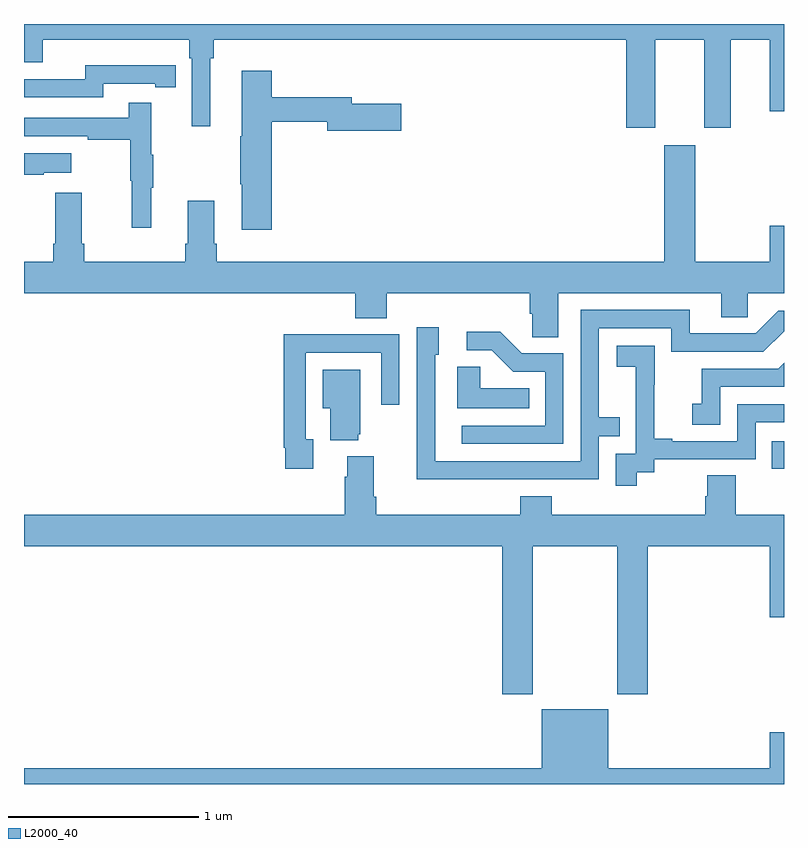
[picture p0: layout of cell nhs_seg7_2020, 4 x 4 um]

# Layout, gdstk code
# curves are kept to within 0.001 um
import gdstk
lib = gdstk.Library(unit=1e-6, precision=1e-09)
def R(c, l, rs):  # rectangles x0, y0, x1, y1
    for r in rs: c.add(gdstk.rectangle(r[:2], r[2:], *l))
def P(c, l, *ps):  # polygons
    for p in ps: c.add(gdstk.Polygon(p, *l))
L2000_40 = (2000, 40)

nhs_seg7_2020 = lib.new_cell('nhs_seg7_2020')
R(nhs_seg7_2020, L2000_40, [(248.935,1031.658,249,1031.805)])
P(nhs_seg7_2020, L2000_40, [(248.323,1033.916),(248.579,1033.916),(248.579,1033.455),(248.719,1033.455),(248.719,1033.916),(248.924,1033.916),(248.924,1033.542),(249,1033.542),(249,1034),(245,1034),(245,1033.799),(245.098,1033.799),(245.098,1033.916),(245.87,1033.916),(245.87,1033.82),(245.883,1033.82),(245.883,1033.461),(245.98,1033.461),(245.98,1033.82),(245.999,1033.82),(245.999,1033.916),(248.171,1033.916),(248.171,1033.455),(248.323,1033.455)],
  [(245.418,1033.686),(245.69,1033.686),(245.69,1033.666),(245.798,1033.666),(245.798,1033.782),(245.69,1033.782),(245.69,1033.783),(245.322,1033.783),(245.322,1033.71),(245,1033.71),(245,1033.614),(245.418,1033.614)],
  [(246.305,1033.486),(246.596,1033.486),(246.596,1033.439),(246.985,1033.439),(246.985,1033.581),(246.724,1033.581),(246.724,1033.615),(246.305,1033.615),(246.305,1033.753),(246.146,1033.753),(246.146,1033.409),(246.139,1033.409),(246.139,1033.156),(246.146,1033.156),(246.146,1032.918),(246.305,1032.918)],
  [(245.669,1033.139),(245.68,1033.139),(245.68,1033.313),(245.669,1033.313),(245.669,1033.585),(245.551,1033.585),(245.551,1033.506),(245,1033.506),(245,1033.41),(245.335,1033.41),(245.335,1033.39),(245.559,1033.39),(245.559,1033.176),(245.566,1033.176),(245.566,1032.927),(245.669,1032.927)],
  [(247.813,1032.584),(248.669,1032.584),(248.669,1032.457),(248.808,1032.457),(248.808,1032.584),(249,1032.584),(249,1032.937),(248.924,1032.937),(248.924,1032.748),(248.533,1032.748),(248.533,1033.363),(248.369,1033.363),(248.369,1032.748),(246.014,1032.748),(246.014,1032.844),(246.001,1032.844),(246.001,1033.069),(245.861,1033.069),(245.861,1032.844),(245.849,1032.844),(245.849,1032.748),(245.318,1032.748),(245.318,1032.844),(245.305,1032.844),(245.305,1033.111),(245.165,1033.111),(245.165,1032.844),(245.153,1032.844),(245.153,1032.748),(245,1032.748),(245,1032.584),(246.743,1032.584),(246.743,1032.451),(246.908,1032.451),(246.908,1032.584),(247.661,1032.584),(247.661,1032.475),(247.674,1032.475),(247.674,1032.352),(247.813,1032.352)],
  [(245.105,1033.217),(245.248,1033.217),(245.248,1033.321),(245,1033.321),(245,1033.207),(245.105,1033.207)],
  [(247.529,1031.604),(248.025,1031.604),(248.025,1031.829),(248.135,1031.829),(248.135,1031.93),(248.025,1031.93),(248.025,1032.399),(248.406,1032.399),(248.406,1032.276),(248.892,1032.276),(249,1032.384),(249,1032.492),(248.97,1032.492),(248.85,1032.372),(248.503,1032.372),(248.503,1032.495),(247.929,1032.495),(247.929,1031.7),(247.164,1031.7),(247.164,1032.258),(247.183,1032.258),(247.183,1032.403),(247.068,1032.403),(247.068,1031.909),(247.066,1031.909),(247.066,1031.603)],
  [(247.839,1032.267),(247.62,1032.267),(247.507,1032.38),(247.329,1032.38),(247.329,1032.282),(247.463,1032.282),(247.574,1032.171),(247.743,1032.171),(247.743,1031.886),(247.305,1031.886),(247.305,1031.79),(247.839,1031.79)],
  [(246.523,1031.814),(246.483,1031.814),(246.483,1032.27),(246.879,1032.27),(246.879,1031.997),(246.975,1031.997),(246.975,1032.366),(246.659,1032.366),(246.659,1032.368),(246.367,1032.368),(246.367,1031.77),(246.375,1031.77),(246.375,1031.658),(246.523,1031.658)],
  [(248.224,1031.641),(248.316,1031.641),(248.316,1031.709),(248.85,1031.709),(248.85,1031.904),(249,1031.904),(249,1032),(248.754,1032),(248.754,1031.805),(248.413,1031.805),(248.413,1031.818),(248.318,1031.818),(248.318,1032.101),(248.319,1032.101),(248.319,1032.307),(248.121,1032.307),(248.121,1032.197),(248.219,1032.197),(248.219,1031.969),(248.22,1031.969),(248.22,1031.739),(248.115,1031.739),(248.115,1031.571),(248.224,1031.571)],
  [(248.664,1032.09),(249,1032.09),(249,1032.217),(248.969,1032.186),(248.566,1032.186),(248.566,1032.001),(248.517,1032.001),(248.517,1031.892),(248.664,1031.892)],
  [(247.658,1032.082),(247.401,1032.082),(247.401,1032.197),(247.28,1032.197),(247.28,1031.978),(247.658,1031.978)],
  [(246.758,1031.841),(246.769,1031.841),(246.769,1032.181),(246.572,1032.181),(246.572,1031.978),(246.611,1031.978),(246.611,1031.81),(246.758,1031.81)],
  [(247.677,1031.252),(248.122,1031.252),(248.122,1030.473),(248.282,1030.473),(248.282,1031.252),(248.924,1031.252),(248.924,1030.878),(249,1030.878),(249,1031.416),(248.745,1031.416),(248.745,1031.624),(248.597,1031.624),(248.597,1031.514),(248.585,1031.514),(248.585,1031.416),(247.778,1031.416),(247.778,1031.515),(247.613,1031.515),(247.613,1031.416),(246.854,1031.416),(246.854,1031.512),(246.841,1031.512),(246.841,1031.725),(246.701,1031.725),(246.701,1031.618),(246.689,1031.618),(246.689,1031.416),(245,1031.416),(245,1031.252),(247.517,1031.252),(247.517,1030.473),(247.677,1030.473)],
  [(249,1030.273),(248.924,1030.273),(248.924,1030.084),(248.074,1030.084),(248.074,1030.393),(247.724,1030.393),(247.724,1030.084),(245,1030.084),(245,1030),(249,1030)])

lib.write_gds('nhs_seg7_2020.gds')
